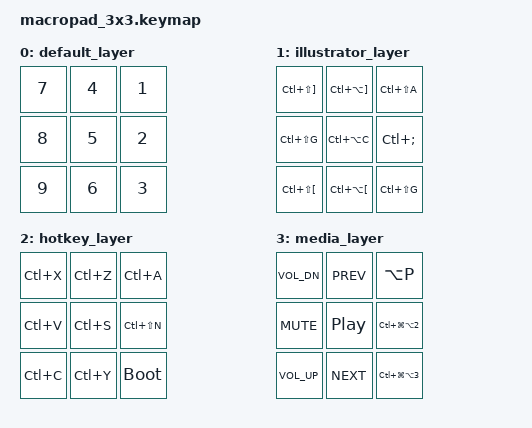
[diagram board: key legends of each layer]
/*
 * Copyright (c) 2020 The ZMK Contributors
 *
 * SPDX-License-Identifier: MIT
 */

#include <behaviors.dtsi>
#include <dt-bindings/zmk/keys.h>
#include <dt-bindings/zmk/bt.h>
#include <dt-bindings/zmk/outputs.h>
#include <dt-bindings/zmk/ext_power.h>

/ {
    combos {
    compatible = "zmk,combos";
    combo_illustrator {
        timeout-ms = <50>;
        key-positions = <2 5 8>;
        bindings = <&to 1>;
        layers = <0>;        // only fires from default layer
        };
    combo_illustrator_off {
        timeout-ms = <50>;
        key-positions = <2 5 8>;
        bindings = <&to 0>;
        layers = <1>;        // only fires from illustrator layer
    };
    combo_hotkey {
        timeout-ms = <50>;
        key-positions = <1 4 7>;
        bindings = <&to 2>;
        layers = <0>;
    };
    combo_hotkey_off {
        timeout-ms = <50>;
        key-positions = <1 4 7>;
        bindings = <&to 0>;
        layers = <2>;
    };
    combo_media {
        timeout-ms = <50>;
        key-positions = <0 3 6>;
        bindings = <&to 3>;
        layers = <0>;
    };
    combo_media_off {
        timeout-ms = <50>;
        key-positions = <0 3 6>;
        bindings = <&to 0>;
        layers = <3>;
    };
};

    keymap {
        compatible = "zmk,keymap";

        default_layer {
// -------------------
// | 3      |  6  |  9  |
// | 2      |  5  |  8  |
// | 1      |  4  |  7  |
// -------------------
            bindings = <
    &kp N7 &kp N4 &kp N1
    &kp N8 &kp N5 &kp N2
    &kp N9 &kp N6 &kp N3
            >;
        };

illustrator_layer {
    // -----------------------------------------
    // | BRING_FRONT | BRING_FWD  | DESELECT  |
    // | GROUP       | COPY_PLACE | GUIDES    |
    // | SEND_BACK   | SEND_BACK  | UNGROUP   |
    // -----------------------------------------
            bindings = <
    &kp LC(LS(RBKT))  &kp LC(LA(RBKT))  &kp LC(LS(A))
    &kp LC(LS(G))     &kp LC(LA(C))     &kp LC(SEMICOLON)
    &kp LC(LS(LBKT))  &kp LC(LA(LBKT))  &kp LC(LS(G))
        >;
    };

        hotkey_layer {
// -----------------------------
// | Ctrl+X | Ctrl+Z  | Ctrl+A   |
// | Ctrl+V | Ctrl+S  | C-S-N    |
// | Ctrl+C | Ctrl+Y  | Firmware_RST|
// -----------------------------
            bindings = <
    &kp LC(X)     &kp LC(Z)     &kp LC(A)
    &kp LC(V)     &kp LC(S)     &kp LC(LS(N))
    &kp LC(C)     &kp LC(Y)     &bootloader
            >;
        };

        media_layer {
// -----------------------------
// | Vol Dn  | Next       | PiP   |
// | PP      | Mute       | BRI Dn |
// | Vol Up  | Prev       | BRI Up |
// -----------------------------
            bindings = <
    &kp C_VOL_DN &kp C_PREV   &kp LA(P)
    &kp C_MUTE   &kp C_PP     &kp LC(LG(LA(N2)))
    &kp C_VOL_UP &kp C_NEXT   &kp LC(LG(LA(N3)))
            >;
        };
    };
};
